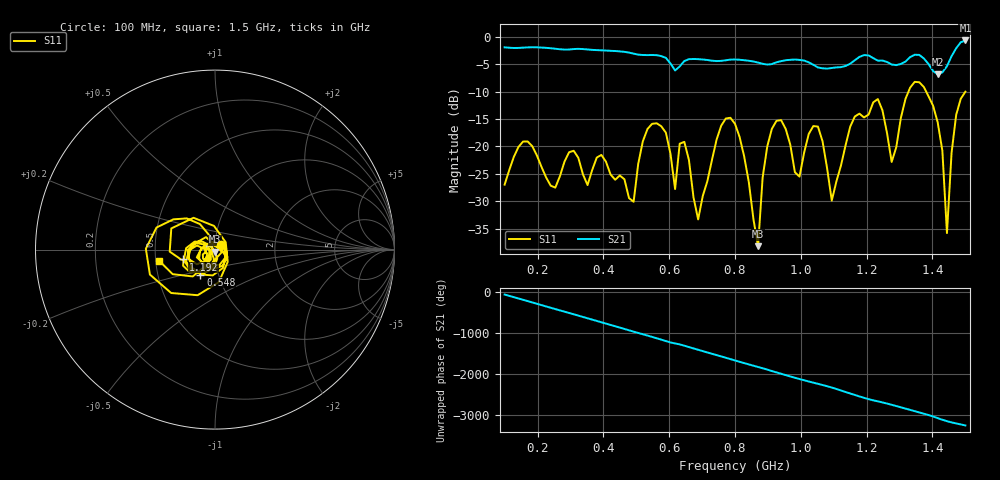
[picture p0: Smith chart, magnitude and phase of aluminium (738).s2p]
! NanoVNA-App
! Date: 2025-09-25 15:01:01
! Start: 100MHz Stop: 1,5GHz Points: 101
! S-Parameter data: F S11 S21 S12 S22
# Hz S RI R 50
!  Frequency  S11_Real  S11_Imag  S21_Real  S21_Imag  S12_Real  S12_Imag  S22_Real  S22_Imag
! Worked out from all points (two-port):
!   101 points, 100 MHz to 1.5 GHz, reference 50 ohm
!   highest |S21| = -0.66 dB at 1.5 GHz (marker M1); lowest = -6.9 dB at 1.416 GHz (marker M2)
!   |S21| within 3 dB of the highest: start of sweep to 582.3 MHz; 1.457 GHz to end of sweep (the widest 2 of 4)
!   lowest |S11| = -38.2 dB at 870 MHz (marker M3), VSWR 1.02, Z = 50.1 - j1.23 ohm
!   |S11| at or under -10 dB: start of sweep to 1.327 GHz; 1.381 GHz to end of sweep
!   S12 and S22 are empty: the file has one direction only
!   S11 on the Smith chart (normalised r, x): 100 MHz: 1.07, +0.06; 548 MHz: 0.82, -0.23; 1.192 GHz: 0.70, -0.08; 1.5 GHz: 0.52, -0.07
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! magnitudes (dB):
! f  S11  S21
! 100 MHz  -27.0  -1.9
! 156 MHz  -19.1  -2.0
! 338 MHz  -25.1  -2.2
! 492 MHz  -30.1  -3.1
! 548 MHz  -15.9  -3.3
! 576 MHz  -16.3  -3.5
! 618 MHz  -27.8  -6.1
! 646 MHz  -19.2  -4.4
! 688 MHz  -33.3  -4.1
! 800 MHz  -15.9  -4.1
! 870 MHz  -38.2  -4.7
! 912 MHz  -16.8  -5.0
! 996 MHz  -25.5  -4.2
! 1.038 GHz  -16.3  -5.1
! 1.094 GHz  -29.9  -5.7
! 1.192 GHz  -14.7  -3.3
! 1.276 GHz  -22.8  -5.0
! 1.346 GHz  -8.2  -3.3
! 1.416 GHz  -15.6  -6.9
! 1.444 GHz  -35.8  -5.4
! 1.472 GHz  -14.2  -2.1
! 1.5 GHz  -10.0  -0.7
